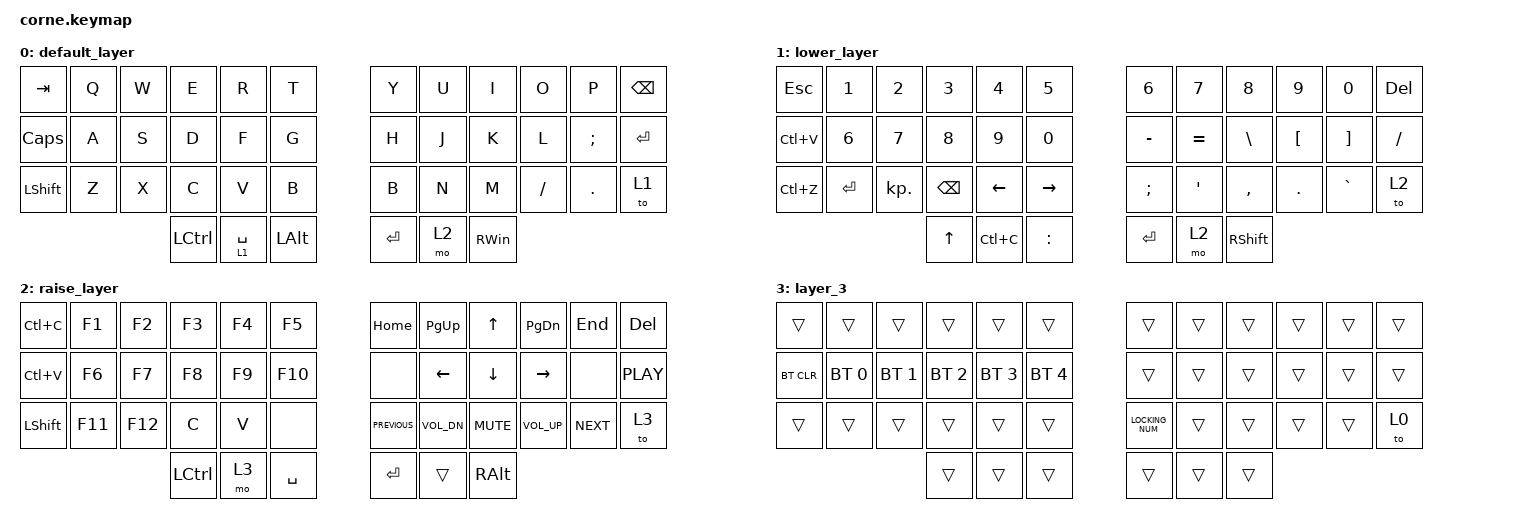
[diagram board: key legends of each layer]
/*
 * Copyright (c) 2020 The ZMK Contributors
 *
 * SPDX-License-Identifier: MIT
 */

#include <behaviors.dtsi>
#include <dt-bindings/zmk/bt.h>
#include <dt-bindings/zmk/keys.h>

/ {
    behaviors {
        tp: tap_preferred {
            compatible = "zmk,behavior-hold-tap";
            label = "TAP_PREFERRED";
            #binding-cells = <2>;
            tapping-term-ms = <150>;
            quick-tap-ms = <0>;
            flavor = "tap-preferred";
            bindings = <&kp>, <&kp>;
        };
    };

    keymap {
        compatible = "zmk,keymap";

        default_layer {
            // -----------------------------------------------------------------------------------------
            // |  TAB |  Q  |  W  |  E  |  R  |  T  |   |  Y  |  U   |  I  |  O  |  P  | BKSP |
            // | CTRL |  A  |  S  |  D  |  F  |  G  |   |  H  |  J   |  K  |  L  |  ;  |  '   |
            // | SHFT |  Z  |  X  |  C  |  V  |  B  |   |  N  |  M   |  ,  |  .  |  /  | ESC  |
            //                    | GUI | LWR | SPC |   | ENT | RSE  | ALT |

            bindings = <
&kp TAB       &kp Q  &kp W  &kp E      &kp R        &kp T           &kp Y    &kp U  &kp I          &kp O      &kp P       &kp BSPC
&kp CAPSLOCK  &kp A  &kp S  &kp D      &kp F        &kp G           &kp H    &kp J  &kp K          &kp L      &kp SEMI    &kp ENTER
&kp LSHFT     &kp Z  &kp X  &kp C      &kp V        &kp B           &kp B    &kp N  &kp M          &kp SLASH  &kp PERIOD  &to 1
                            &kp LCTRL  &lt 1 SPACE  &kp LEFT_ALT    &kp RET  &mo 2  &kp RIGHT_WIN
            >;
        };

        lower_layer {
            // -----------------------------------------------------------------------------------------
            // |  TAB |  1  |  2  |  3  |  4  |  5  |   |  6  |  7  |  8  |  9  |  0  | BKSP |
            // | BTCLR| BT1 | BT2 | BT3 | BT4 | BT5 |   | LFT | DWN |  UP | RGT |     |      |
            // | SHFT |     |     |     |     |     |   |     |     |     |     |     |      |
            //                    | GUI |     | SPC |   | ENT |     | ALT |

            bindings = <
&kp ESCAPE  &kp N1        &kp N2      &kp N3         &kp N4     &kp N5       &kp N6         &kp N7     &kp N8           &kp N9      &kp N0     &kp DEL
&kp LC(V)   &kp NUMBER_6  &kp N7      &kp N8         &kp N9     &kp N0       &kp MINUS      &kp EQUAL  &kp BSLH         &kp LBKT    &kp RBKT   &kp SLASH
&kp LC(Z)   &kp ENTER     &kp KP_DOT  &kp BACKSPACE  &kp LEFT   &kp RIGHT    &kp SEMICOLON  &kp SQT    &kp COMMA        &kp PERIOD  &kp GRAVE  &to 2
                                      &kp UP         &kp LC(C)  &kp COLON    &kp RET        &mo 2      &kp RIGHT_SHIFT
            >;
        };

        raise_layer {
            // -----------------------------------------------------------------------------------------
            // |  TAB |  !  |  @  |  #  |  $  |  %  |   |  ^  |  &  |  *  |  (  |  )  | BKSP |
            // | CTRL |     |     |     |     |     |   |  -  |  =  |  [  |  ]  |  \  |  `   |
            // | SHFT |     |     |     |     |     |   |  _  |  +  |  {  |  }  | "|" |  ~   |
            //                    | GUI |     | SPC |   | ENT |     | ALT |

            bindings = <
&kp LC(C)  &kp F1   &kp F2   &kp F3     &kp F4  &kp F5       &kp HOME        &kp PG_UP     &kp UP      &kp PG_DN     &kp END     &kp DEL
&kp LC(V)  &kp F6   &kp F7   &kp F8     &kp F9  &kp F10      &none           &kp LEFT      &kp DOWN    &kp RIGHT     &none       &kp C_PLAY
&kp LSHFT  &kp F11  &kp F12  &kp C      &kp V   &none        &kp C_PREVIOUS  &kp C_VOL_DN  &kp K_MUTE  &kp C_VOL_UP  &kp K_NEXT  &to 3
                             &kp LCTRL  &mo 3   &kp SPACE    &kp RET         &trans        &kp RALT
            >;
        };

        layer_3 {
            bindings = <
&trans      &trans        &trans        &trans        &trans        &trans          &trans           &trans  &trans  &trans  &trans  &trans
&bt BT_CLR  &bt BT_SEL 0  &bt BT_SEL 1  &bt BT_SEL 2  &bt BT_SEL 3  &bt BT_SEL 4    &trans           &trans  &trans  &trans  &trans  &trans
&trans      &trans        &trans        &trans        &trans        &trans          &kp LOCKING_NUM  &trans  &trans  &trans  &trans  &to 0
                                        &trans        &trans        &trans          &trans           &trans  &trans
            >;
        };
    };
};
